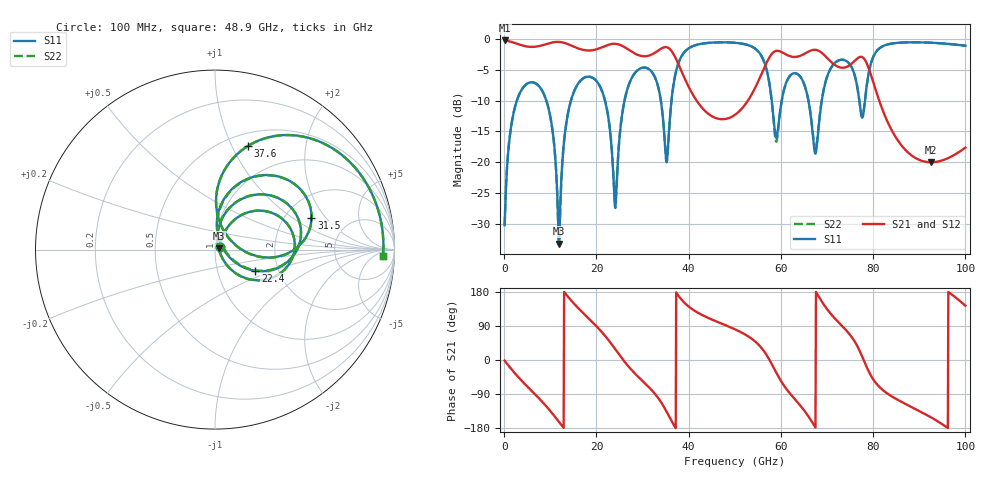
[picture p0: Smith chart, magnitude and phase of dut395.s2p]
! Touchstone file exported from HFSS 2026.1.0
!  File:  C:/ffzhzh/LocalFiles/Ansys_Project_Files/temp_train_TSV_RDL_395_1783719636_45164.aedt
!  Generated:  05:50:50 AM Jul 11, 2026
!  Design:  TSV_RDL
!  Project:  temp_train_TSV_RDL_395_1783719636_45164
! Variables:
!  h_bsmrdl = 2.22um
!  h_ox = 20um
!  h_rdl = 5um
!  h_sub = 85.74um
!  h_tmrdl = 4.32um
!  h_tsv = 85.74um
!  h_via = 3um
!  l_bsmrdl = 273.18um
!  l_sub = 4024.68um
!  l_tmrdl = 680.63um
!  m_sub = 200um
!  pitch = 40.33um
!  r_tsv = 14.65um
!  s_tmrdl = 10um
!  w_bsmrdl = 15.48um
!  w_sub = 500um
!  w_tmrdl = 12.06um
!  x_tsv_center1 = 686.66um
!  x_tsv_center2 = 975.32um
!  x_tsv_center3 = 1668.01um
!  x_tsv_center4 = 1956.67um
!  x_tsv_center5 = 2649.36um
!  x_tsv_center6 = 2938.02um
# GHz S MA R 50.000000
! Terminal data exported
! Port[1] = TM_RDL1_1_T1
! Port[2] = TM_RDL5_1_T1
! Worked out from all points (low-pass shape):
!   1000 points, 100 MHz to 100 GHz, reference 50 ohm
!   highest |S21| = -0.24 dB at 100 MHz (marker M1); lowest = -20.0 dB at 92.6 GHz (marker M2)
!   |S21| within 3 dB of the highest: start of sweep to 37.27 GHz; 57.32 GHz to 70.23 GHz (12.91 GHz wide, 20.2 % of centre) (the widest 2 of 3)
!   lowest |S11| = -33.2 dB at 11.9 GHz (marker M3), VSWR 1.04, Z = 52.1 + j0.689 ohm
!   |S11| at or under -10 dB: 9.148 GHz to 14.48 GHz (5.329 GHz wide, 45.1 % of centre); 21.86 GHz to 26.1 GHz (4.232 GHz wide, 17.6 % of centre); 65.97 GHz to 68.86 GHz (2.896 GHz wide, 4.3 % of centre) (the widest 3 of 7)
!   |S22| runs from -33.6 to -0.5 dB; largest |S21 - S12| = 1.7e-14
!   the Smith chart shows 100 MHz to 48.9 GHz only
!   S11 on the Smith chart (normalised r, x): 100 MHz: 1.06, +0.03; 22.4 GHz: 1.52, -0.39; 31.5 GHz: 2.79, +1.43; 37.6 GHz: 0.63, +1.16; 48.9 GHz: 24, -13
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0.1  0.03082 26.1  0.9726 -1.6  0.9726 -1.6  0.03082 26.1
! Gamma 0 0 0 0
! Port Impedance 50 0 50 0
2.1  0.257 51.0  0.9337 -31.7  0.9337 -31.7  0.257 51.0
6  0.4456 5.1  0.8625 -82.0  0.8625 -82.0  0.4456 5.1
11.9  0.02193 17.5  0.9463 -163.4  0.9463 -163.4  0.02086 17.4
16.8  0.4687 35.1  0.8211 127.7  0.8211 127.7  0.4685 35.3
22.4  0.2544 -27.7  0.8911 56.0  0.8911 56.0  0.2546 -27.0
24.1  0.0425 30.5  0.9137 28.4  0.9137 28.4  0.04591 30.6
26.7  0.3901 70.3  0.8311 -13.4  0.8311 -13.4  0.3907 69.9
31.5  0.5653 18.0  0.7352 -73.3  0.7352 -73.3  0.5655 17.8
33.4  0.4076 -2.8  0.806 -100.4  0.806 -100.4  0.4077 -3.0
35.2  0.1008 35.9  0.8581 -135.9  0.8581 -135.9  0.0997 35.6
37.6  0.6065 72.3  0.6472 172.9  0.6472 172.9  0.6062 72.3
48.9  0.9367 -2.0  0.2296 87.1  0.2296 87.1  0.9366 -2.1
50.1  0.9308 -7.6  0.2432 80.7  0.2432 80.7  0.9307 -7.7
58.4  0.2286 -62.4  0.7809 -19.5  0.7809 -19.5  0.2208 -64.3
61.6  0.4806 -0.4  0.7336 -82.8  0.7336 -82.8  0.4791 0.8
66.7  0.2016 -41.6  0.8105 -162.4  0.8105 -162.4  0.2052 -39.6
71  0.5936 22.0  0.6459 119.2  0.6459 119.2  0.5947 21.7
77.5  0.2352 -7.4  0.7157 12.5  0.7157 12.5  0.2393 -7.2
83.4  0.908 -8.8  0.2023 -91.0  0.2023 -91.0  0.9081 -9.0
92.6  0.9323 -61.9  0.09994 -151.7  0.09994 -151.7  0.9322 -62.0
100  0.8815 -123.9  0.1315 143.2  0.1315 143.2  0.8812 -124.2
